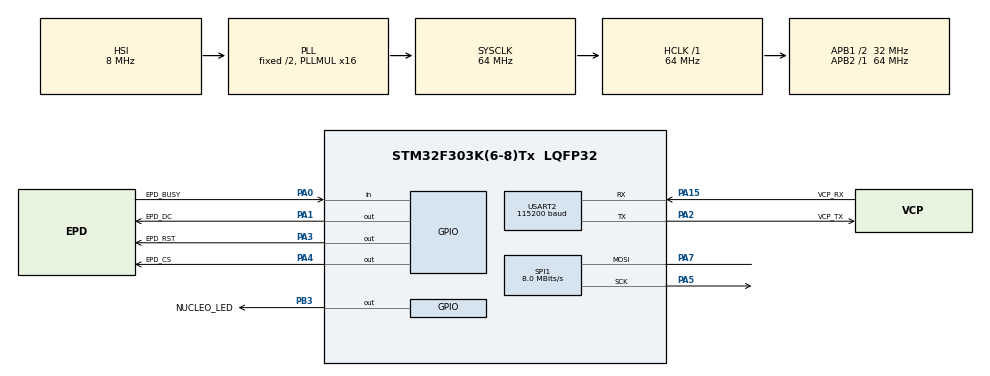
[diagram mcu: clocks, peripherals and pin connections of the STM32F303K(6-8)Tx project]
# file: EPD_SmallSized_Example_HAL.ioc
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Mcu.Family=STM32F3
Mcu.Name=STM32F303K(6-8)Tx
Mcu.Package=LQFP32
NVIC.PriorityGroup=NVIC_PRIORITYGROUP_4
PA0.GPIO_Label=EPD_BUSY
PA0.Signal=GPIO_Input
PA1.GPIO_Label=EPD_DC
PA1.Signal=GPIO_Output
PA13.GPIO_Label=SWDIO
PA13.Mode=Serial_Wire
PA13.Signal=SYS_JTMS-SWDIO
PA14.GPIO_Label=SWCLK
PA14.Mode=Serial_Wire
PA14.Signal=SYS_JTCK-SWCLK
PA15.GPIO_Label=VCP_RX
PA15.Mode=Asynchronous
PA15.Signal=USART2_RX
PA2.GPIO_Label=VCP_TX
PA2.Mode=Asynchronous
PA2.Signal=USART2_TX
PA3.GPIO_Label=EPD_RST
PA3.Signal=GPIO_Output
PA4.GPIO_Label=EPD_CS
PA4.Signal=GPIO_Output
PA5.Mode=Simplex_Bidirectional_Master
PA5.Signal=SPI1_SCK
PA7.Mode=Simplex_Bidirectional_Master
PA7.Signal=SPI1_MOSI
PB3.GPIO_Label=NUCLEO_LED
PB3.Signal=GPIO_Output
PF0\ /\ OSC_IN.GPIO_Label=MCO
PF0\ /\ OSC_IN.Mode=HSE-External-Clock-Source
PF0\ /\ OSC_IN.Signal=RCC_OSC_IN
ProjectManager.HeapSize=0x200
ProjectManager.StackSize=0x400
ProjectManager.TargetToolchain=STM32CubeIDE
RCC.AHBFreq_Value=64000000
RCC.APB1CLKDivider=RCC_HCLK_DIV2
RCC.APB1Freq_Value=32000000
RCC.APB1TimFreq_Value=64000000
RCC.APB2Freq_Value=64000000
RCC.APB2TimFreq_Value=64000000
RCC.CortexFreq_Value=64000000
RCC.HCLKFreq_Value=64000000
RCC.HSE_VALUE=8000000
RCC.HSI_VALUE=8000000
RCC.PLLMUL=RCC_PLL_MUL16
RCC.SYSCLKFreq_VALUE=64000000
RCC.SYSCLKSourceVirtual=RCC_SYSCLKSOURCE_PLLCLK
SPI1.BaudRatePrescaler=SPI_BAUDRATEPRESCALER_8
SPI1.CLKPhase=SPI_PHASE_1EDGE
SPI1.CalculateBaudRate=8.0 MBits/s
SPI1.DataSize=SPI_DATASIZE_8BIT
SPI1.Direction=SPI_DIRECTION_1LINE
SPI1.Mode=SPI_MODE_MASTER
SPI1.NSSPMode=SPI_NSS_PULSE_ENABLE
SPI1.VirtualType=VM_MASTER
USART2.BaudRate=115200
USART2.VirtualMode-Asynchronous=VM_ASYNC
board=NUCLEO-F303K8

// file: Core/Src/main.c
/* USER CODE BEGIN Header */
/**
 * @file        main.c
 * @brief       EPD driver test program
 * @author      Esteban CADIC
 *              STMicroelectronics
 *              Pervasive Displays Inc
 * @version     1.0
 * @date        2024
 * @copyright   MIT License
 *
 */
/* USER CODE END Header */
#include "main.h"
#include "spi.h"
#include "usart.h"
#include "gpio.h"

/* USER CODE BEGIN Includes */
#include <stdio.h>
#include "epd_driver.h"
#include "epd_screens.h"

/* DEMOS IMAGES FROM https://github.com/PervasiveDisplays/EPD_Driver_GF_small/ */
/* Screen Size: 154, 206, 213, 266, 271, 287, 290, 370, 417, 437 */
#define SCREEN 266
#include "../../Images/fastupdate_src/demoImageData.h"
#include "../../Images/globalupdate_src/demoImageData.h"

/* USER CODE END Includes */

void SystemClock_Config(void);

int main(void)
{

	/* MCU Configuration--------------------------------------------------------*/

	/* Reset of all peripherals, Initializes the Flash interface and the Systick. */
	HAL_Init();

	/* Configure the system clock */
	SystemClock_Config();

	/* Initialize all configured peripherals */
	MX_GPIO_Init();
	MX_USART2_UART_Init();
	MX_SPI1_Init();
	/* USER CODE BEGIN 2 */

	ePaperDisplay_t epd;
	epd.spi = &hspi1;

	// CubeMX pin and port constants
	epd.panelBusy.pin = EPD_BUSY_Pin;
	epd.panelBusy.port = EPD_BUSY_GPIO_Port;

	epd.panelCS.pin = EPD_CS_Pin;
	epd.panelCS.port = EPD_CS_GPIO_Port;

	epd.panelDC.pin = EPD_DC_Pin;
	epd.panelDC.port = EPD_DC_GPIO_Port;

	epd.panelReset.pin = EPD_RST_Pin;
	epd.panelReset.port = EPD_RST_GPIO_Port;

	// Select the constants for your EPD (from epd_screens.h)
	epd.epdType = EPD_DISPLAY_266;
	epd.displaySizeH = EPD_DISPLAY_266_SIZE_H;
	epd.displaySizeV = EPD_DISPLAY_266_SIZE_V;

	epd.epdPSR[0] = EPD_DISPLAY_266_PSR0;
	epd.epdPSR[1] = EPD_DISPLAY_266_PSR1;

	// Initialize the COG for Global Update
	initializeGlobalUpdateCOG(&epd);

	// Make a Global Update
	globalUpdateDisplay(&epd, BW_monoBuffer, BW_0x00Buffer);

	// Power off the COG
	powerOffCOG(&epd);

	HAL_Delay(2000);

	// Initialize the COG for Fast Update
	initializeFastUpdateCOG(&epd);

	// Make some Fast Updates
	fastUpdateDisplay(&epd, FastPic_1, FastPic_b);
	fastUpdateDisplay(&epd, FastPic_b, FastPic_w);
	fastUpdateDisplay(&epd, FastPic_w, FastPic_2);
	fastUpdateDisplay(&epd, FastPic_2, FastPic_3);
	fastUpdateDisplay(&epd, FastPic_3, FastPic_4);

	HAL_Delay(2000);
	fastUpdateDisplay(&epd, FastPic_4, FastPic_b);
	fastUpdateDisplay(&epd, FastPic_b, FastPic_w);

	HAL_Delay(1000);
	powerOffCOG(&epd);

	/* USER CODE END 2 */

	/* Infinite loop */
	/* USER CODE BEGIN WHILE */
	while(1)
	{
		HAL_GPIO_TogglePin(NUCLEO_LED_GPIO_Port, NUCLEO_LED_Pin);
		HAL_Delay(1000);

		/* USER CODE END WHILE */

	}
}

void SystemClock_Config(void)
{
	RCC_OscInitTypeDef RCC_OscInitStruct = { 0 };
	RCC_ClkInitTypeDef RCC_ClkInitStruct = { 0 };

	/** Initializes the RCC Oscillators according to the specified parameters
	 * in the RCC_OscInitTypeDef structure.
	 */
	RCC_OscInitStruct.OscillatorType = RCC_OSCILLATORTYPE_HSI;
	RCC_OscInitStruct.HSIState = RCC_HSI_ON;
	RCC_OscInitStruct.HSICalibrationValue = RCC_HSICALIBRATION_DEFAULT;
	RCC_OscInitStruct.PLL.PLLState = RCC_PLL_ON;
	RCC_OscInitStruct.PLL.PLLSource = RCC_PLLSOURCE_HSI;
	RCC_OscInitStruct.PLL.PLLMUL = RCC_PLL_MUL16;
	if(HAL_RCC_OscConfig(&RCC_OscInitStruct) != HAL_OK)
	{
		Error_Handler();
	}

	/** Initializes the CPU, AHB and APB buses clocks
	 */
	RCC_ClkInitStruct.ClockType = RCC_CLOCKTYPE_HCLK | RCC_CLOCKTYPE_SYSCLK | RCC_CLOCKTYPE_PCLK1 | RCC_CLOCKTYPE_PCLK2;
	RCC_ClkInitStruct.SYSCLKSource = RCC_SYSCLKSOURCE_PLLCLK;
	RCC_ClkInitStruct.AHBCLKDivider = RCC_SYSCLK_DIV1;
	RCC_ClkInitStruct.APB1CLKDivider = RCC_HCLK_DIV2;
	RCC_ClkInitStruct.APB2CLKDivider = RCC_HCLK_DIV1;

	if(HAL_RCC_ClockConfig(&RCC_ClkInitStruct, FLASH_LATENCY_2) != HAL_OK)
	{
		Error_Handler();
	}
}

void Error_Handler(void)
{
	__disable_irq();
	while(1)
	{
	}
}
